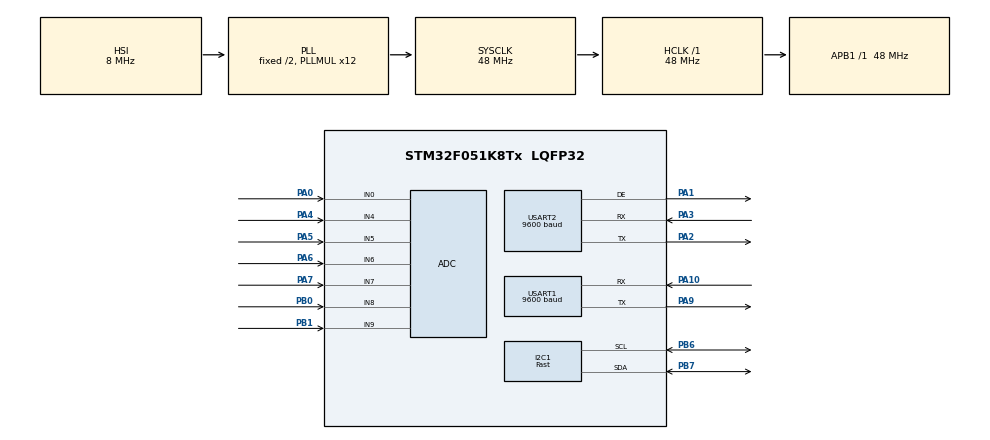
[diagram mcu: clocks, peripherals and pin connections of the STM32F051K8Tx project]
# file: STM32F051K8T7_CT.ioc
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ADC.ContinuousConvMode=ENABLE
ADC.DMAContinuousRequests=ENABLE
ADC.SamplingTime=ADC_SAMPLETIME_13CYCLES_5
Dma.ADC.0.Direction=DMA_PERIPH_TO_MEMORY
Dma.ADC.0.Instance=DMA1_Channel1
Dma.ADC.0.MemDataAlignment=DMA_MDATAALIGN_HALFWORD
Dma.ADC.0.MemInc=DMA_MINC_ENABLE
Dma.ADC.0.Mode=DMA_CIRCULAR
Dma.ADC.0.PeriphDataAlignment=DMA_PDATAALIGN_HALFWORD
Dma.ADC.0.PeriphInc=DMA_PINC_DISABLE
Dma.ADC.0.Priority=DMA_PRIORITY_LOW
Dma.Request0=ADC
Dma.Request1=USART2_TX
Dma.Request2=USART1_TX
Dma.USART1_TX.2.Direction=DMA_MEMORY_TO_PERIPH
Dma.USART1_TX.2.Instance=DMA1_Channel2
Dma.USART1_TX.2.MemDataAlignment=DMA_MDATAALIGN_BYTE
Dma.USART1_TX.2.MemInc=DMA_MINC_ENABLE
Dma.USART1_TX.2.Mode=DMA_NORMAL
Dma.USART1_TX.2.PeriphDataAlignment=DMA_PDATAALIGN_BYTE
Dma.USART1_TX.2.PeriphInc=DMA_PINC_DISABLE
Dma.USART1_TX.2.Priority=DMA_PRIORITY_LOW
Dma.USART2_TX.1.Direction=DMA_MEMORY_TO_PERIPH
Dma.USART2_TX.1.Instance=DMA1_Channel4
Dma.USART2_TX.1.MemDataAlignment=DMA_MDATAALIGN_BYTE
Dma.USART2_TX.1.MemInc=DMA_MINC_ENABLE
Dma.USART2_TX.1.Mode=DMA_NORMAL
Dma.USART2_TX.1.PeriphDataAlignment=DMA_PDATAALIGN_BYTE
Dma.USART2_TX.1.PeriphInc=DMA_PINC_DISABLE
Dma.USART2_TX.1.Priority=DMA_PRIORITY_LOW
I2C1.I2C_Speed_Mode=I2C_Fast
I2C1.Timing=0x0010020A
Mcu.Family=STM32F0
Mcu.Name=STM32F051K8Tx
Mcu.Package=LQFP32
NVIC.DMA1_Channel1_IRQn=true\:0\:0\:false\:false\:true\:false\:true\:true
NVIC.DMA1_Channel2_3_IRQn=true\:0\:0\:false\:false\:true\:false\:true\:true
NVIC.DMA1_Channel4_5_IRQn=true\:0\:0\:false\:false\:true\:false\:true\:true
NVIC.TIM3_IRQn=true\:0\:0\:false\:false\:true\:true\:true\:true
NVIC.USART1_IRQn=true\:0\:0\:false\:false\:true\:false\:true\:true
NVIC.USART2_IRQn=true\:0\:0\:false\:false\:true\:true\:true\:true
PA0.Mode=IN0
PA0.Signal=ADC_IN0
PA1.Mode=Hardware Flow Control (RS485)
PA1.Signal=USART2_DE
PA10.GPIO_PuPd=GPIO_PULLUP
PA10.Mode=Asynchronous
PA10.Signal=USART1_RX
PA13.Mode=Serial_Wire
PA13.Signal=SYS_SWDIO
PA14.Mode=Serial_Wire
PA14.Signal=SYS_SWCLK
PA2.Mode=Asynchronous
PA2.Signal=USART2_TX
PA3.GPIO_PuPd=GPIO_PULLUP
PA3.Mode=Asynchronous
PA3.Signal=USART2_RX
PA4.Mode=IN4
PA4.Signal=ADC_IN4
PA5.Mode=IN5
PA5.Signal=ADC_IN5
PA6.Mode=IN6
PA6.Signal=ADC_IN6
PA7.Mode=IN7
PA7.Signal=ADC_IN7
PA9.Mode=Asynchronous
PA9.Signal=USART1_TX
PB0.Mode=IN8
PB0.Signal=ADC_IN8
PB1.Mode=IN9
PB1.Signal=ADC_IN9
PB6.GPIO_Pu=GPIO_PULLUP
PB6.Mode=I2C
PB6.Signal=I2C1_SCL
PB7.GPIO_Pu=GPIO_PULLUP
PB7.Mode=I2C
PB7.Signal=I2C1_SDA
PF0-OSC_IN.Mode=HSE-External-Oscillator
PF0-OSC_IN.Signal=RCC_OSC_IN
PF1-OSC_OUT.Mode=HSE-External-Oscillator
PF1-OSC_OUT.Signal=RCC_OSC_OUT
ProjectManager.HeapSize=0x200
ProjectManager.StackSize=0x400
ProjectManager.TargetToolchain=CMake
RCC.AHBFreq_Value=48000000
RCC.APB1Freq_Value=48000000
RCC.APB1TimFreq_Value=48000000
RCC.HCLKFreq_Value=48000000
RCC.PLLMUL=RCC_PLL_MUL12
RCC.SYSCLKFreq_VALUE=48000000
RCC.SYSCLKSource=RCC_SYSCLKSOURCE_PLLCLK
TIM3.Period=1000-1
TIM3.Prescaler=48-1
USART1.BaudRate=9600
USART1.VirtualMode-Asynchronous=VM_ASYNC
USART2.BaudRate=9600
USART2.VirtualMode-Asynchronous=VM_ASYNC
USART2.VirtualMode-Hardware\ Flow\ Control\ (RS485)=VM_ASYNC
VP_TIM3_VS_ClockSourceINT.Mode=Internal
board=custom

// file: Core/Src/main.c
/* USER CODE BEGIN Header */
/**
 ******************************************************************************
 * @file           : main.c
 * @brief          : Main program body
 ******************************************************************************
 * @attention
 *
 * Copyright (c) 2025 STMicroelectronics.
 * All rights reserved.
 *
 * This software is licensed under terms that can be found in the LICENSE file
 * in the root directory of this software component.
 * If no LICENSE file comes with this software, it is provided AS-IS.
 *
 ******************************************************************************
 */
/* USER CODE END Header */
#include "main.h"
#include "adc.h"
#include "dma.h"
#include "i2c.h"
#include "tim.h"
#include "usart.h"
#include "gpio.h"

/* USER CODE BEGIN Includes */
#include <math.h>
#include <stdio.h>
#include <string.h>
#include <stdlib.h>
/* USER CODE END Includes */

/* USER CODE BEGIN PD */
#define ADC_NUM 7
/* USER CODE END PD */

void SystemClock_Config(void);
/* USER CODE BEGIN PFP */
void Read_Sensor_ID(void);
void ADC_CT_PRO(uint8_t i);
/* USER CODE END PFP */

/* USER CODE BEGIN 0 */
char rxData, rxBuff[30], usrData, usrBuff[30], txBuff[30], Buff[255];
uint8_t adcFlag, ctFlag, txFlag, I2CBuff[16], ReadI2C[16], senID[7];
uint16_t adcCnt = 300, adcRaw[70], adcData[7], adcAvg[7], adcSqrt[7], adcSqrAvg[7];
uint16_t ctCnt[7];
uint32_t adcRawSum[7], adcSum[7], adcSqr[7], adcSqrSum[7];
int32_t adcValue[7];

/* USER CODE END 0 */

int main(void)
{

  /* MCU Configuration--------------------------------------------------------*/

  /* Reset of all peripherals, Initializes the Flash interface and the Systick. */
  HAL_Init();

  /* Configure the system clock */
  SystemClock_Config();

  /* Initialize all configured peripherals */
  MX_GPIO_Init();
  MX_DMA_Init();
  MX_ADC_Init();
  MX_TIM3_Init();
  MX_USART2_UART_Init();
  MX_USART1_UART_Init();
  MX_I2C1_Init();
  /* USER CODE BEGIN 2 */
    Read_Sensor_ID();
    HAL_ADCEx_Calibration_Start(&hadc);
    HAL_ADC_Start_DMA(&hadc, (uint32_t *)&adcRaw, 70);
    HAL_UART_Receive_IT(&huart2, (uint8_t *)&rxData, 1);
    HAL_UART_Receive_IT(&huart1, (uint8_t *)&usrData, 1);
    HAL_TIM_Base_Start_IT(&htim3);
  /* USER CODE END 2 */

  /* Infinite loop */
    while (1)
    {

    /* USER CODE BEGIN 3 */
        if (adcFlag)
        {
            adcRawSum[0] = adcRaw[0] + adcRaw[7] + adcRaw[14] + adcRaw[21] + adcRaw[28] + adcRaw[35] + adcRaw[42] + adcRaw[49] + adcRaw[56] + adcRaw[63];
            adcRawSum[1] = adcRaw[1] + adcRaw[8] + adcRaw[15] + adcRaw[22] + adcRaw[29] + adcRaw[36] + adcRaw[43] + adcRaw[50] + adcRaw[57] + adcRaw[64];
            adcRawSum[2] = adcRaw[2] + adcRaw[9] + adcRaw[16] + adcRaw[23] + adcRaw[30] + adcRaw[37] + adcRaw[44] + adcRaw[51] + adcRaw[58] + adcRaw[65];
            adcRawSum[3] = adcRaw[3] + adcRaw[10] + adcRaw[17] + adcRaw[24] + adcRaw[31] + adcRaw[38] + adcRaw[45] + adcRaw[52] + adcRaw[59] + adcRaw[66];
            adcRawSum[4] = adcRaw[4] + adcRaw[11] + adcRaw[18] + adcRaw[25] + adcRaw[32] + adcRaw[39] + adcRaw[46] + adcRaw[53] + adcRaw[60] + adcRaw[67];
            adcRawSum[5] = adcRaw[5] + adcRaw[12] + adcRaw[19] + adcRaw[26] + adcRaw[33] + adcRaw[40] + adcRaw[47] + adcRaw[54] + adcRaw[61] + adcRaw[68];
            adcRawSum[6] = adcRaw[6] + adcRaw[13] + adcRaw[20] + adcRaw[27] + adcRaw[34] + adcRaw[41] + adcRaw[48] + adcRaw[55] + adcRaw[62] + adcRaw[69];

            adcData[0] = adcRawSum[0] / 10;
            adcData[1] = adcRawSum[1] / 10;
            adcData[2] = adcRawSum[2] / 10;
            adcData[3] = adcRawSum[3] / 10;
            adcData[4] = adcRawSum[4] / 10;
            adcData[5] = adcRawSum[5] / 10;
            adcData[6] = adcRawSum[6] / 10;

            adcRawSum[0] = 0;
            adcRawSum[1] = 0;
            adcRawSum[2] = 0;
            adcRawSum[3] = 0;
            adcRawSum[4] = 0;
            adcRawSum[5] = 0;
            adcRawSum[6] = 0;

            adcSum[0] += adcData[0];
            adcSum[1] += adcData[1];
            adcSum[2] += adcData[2];
            adcSum[3] += adcData[3];
            adcSum[4] += adcData[4];
            adcSum[5] += adcData[5];
            adcSum[6] += adcData[6];

            if (adcCnt > 0)
                adcCnt--;

            if (adcCnt == 0)
            {
                adcAvg[0] = adcSum[0] / 300;
                adcAvg[1] = adcSum[1] / 300;
                adcAvg[2] = adcSum[2] / 300;
                adcAvg[3] = adcSum[3] / 300;
                adcAvg[4] = adcSum[4] / 300;
                adcAvg[5] = adcSum[5] / 300;
                adcAvg[6] = adcSum[6] / 300;

                adcSum[0] = 0;
                adcSum[1] = 0;
                adcSum[2] = 0;
                adcSum[3] = 0;
                adcSum[4] = 0;
                adcSum[5] = 0;
                adcSum[6] = 0;

                adcCnt = 300;
            }

            adcFlag = 0;
            ctFlag = 1;
        }

        if (ctFlag)
        {
            for (uint8_t i = 0; i < ADC_NUM; i++)
            {
                ADC_CT_PRO(i);
            }

            ctFlag = 0;
        }

        if (txFlag)
        { // ADC별 ID와 데이터 전송
            snprintf(Buff, sizeof(Buff),
                     "ADC1(ID:%2d): %3ld, ADC2(ID:%2d): %3ld, ADC3(ID:%2d): %3ld, ADC4(ID:%2d): %3ld"
                     ", ADC5(ID:%2d): %3ld, ADC6(ID:%2d): %3ld, ADC7(ID:%2d): %3ld\r\n",
                     senID[0], adcValue[0], senID[1], adcValue[1], senID[2], adcValue[2], senID[3], adcValue[3],
                     senID[4], adcValue[4], senID[5], adcValue[5], senID[6], adcValue[6]);
            HAL_UART_Transmit_DMA(&huart1, (uint8_t *)&Buff, strlen(Buff));

            txFlag = 0;
        }
    }
  /* USER CODE END 3 */
}

void SystemClock_Config(void)
{
  RCC_OscInitTypeDef RCC_OscInitStruct = {0};
  RCC_ClkInitTypeDef RCC_ClkInitStruct = {0};
  RCC_PeriphCLKInitTypeDef PeriphClkInit = {0};

  /** Initializes the RCC Oscillators according to the specified parameters
  * in the RCC_OscInitTypeDef structure.
  */
  RCC_OscInitStruct.OscillatorType = RCC_OSCILLATORTYPE_HSI|RCC_OSCILLATORTYPE_HSI14;
  RCC_OscInitStruct.HSIState = RCC_HSI_ON;
  RCC_OscInitStruct.HSI14State = RCC_HSI14_ON;
  RCC_OscInitStruct.HSICalibrationValue = RCC_HSICALIBRATION_DEFAULT;
  RCC_OscInitStruct.HSI14CalibrationValue = 16;
  RCC_OscInitStruct.PLL.PLLState = RCC_PLL_ON;
  RCC_OscInitStruct.PLL.PLLSource = RCC_PLLSOURCE_HSI;
  RCC_OscInitStruct.PLL.PLLMUL = RCC_PLL_MUL12;
  RCC_OscInitStruct.PLL.PREDIV = RCC_PREDIV_DIV1;
  if (HAL_RCC_OscConfig(&RCC_OscInitStruct) != HAL_OK)
  {
    Error_Handler();
  }

  /** Initializes the CPU, AHB and APB buses clocks
  */
  RCC_ClkInitStruct.ClockType = RCC_CLOCKTYPE_HCLK|RCC_CLOCKTYPE_SYSCLK
                              |RCC_CLOCKTYPE_PCLK1;
  RCC_ClkInitStruct.SYSCLKSource = RCC_SYSCLKSOURCE_PLLCLK;
  RCC_ClkInitStruct.AHBCLKDivider = RCC_SYSCLK_DIV1;
  RCC_ClkInitStruct.APB1CLKDivider = RCC_HCLK_DIV1;

  if (HAL_RCC_ClockConfig(&RCC_ClkInitStruct, FLASH_LATENCY_1) != HAL_OK)
  {
    Error_Handler();
  }
  PeriphClkInit.PeriphClockSelection = RCC_PERIPHCLK_USART1|RCC_PERIPHCLK_I2C1;
  PeriphClkInit.Usart1ClockSelection = RCC_USART1CLKSOURCE_PCLK1;
  PeriphClkInit.I2c1ClockSelection = RCC_I2C1CLKSOURCE_HSI;
  if (HAL_RCCEx_PeriphCLKConfig(&PeriphClkInit) != HAL_OK)
  {
    Error_Handler();
  }
}

/* USER CODE BEGIN 4 */
void HAL_TIM_PeriodElapsedCallback(TIM_HandleTypeDef *htim)
{
    if (htim->Instance == TIM3)
    {
        static uint16_t cnt;

        // 1msec 간격 ADC
        adcFlag = 1;

        cnt++;

        if (cnt >= 1000)
        {
            txFlag = 1;
            cnt = 0;
        }
    }
}

void HAL_UART_RxCpltCallback(UART_HandleTypeDef *huart)
{
    if (huart->Instance == USART2)
    {
        rxBuff[0] = rxBuff[1];
        rxBuff[1] = rxBuff[2];
        rxBuff[2] = rxBuff[3];
        rxBuff[3] = rxBuff[4];
        rxBuff[4] = rxData;

        // 센서데이터 요청 ex.R01(아이디 01번 센서 데이터 요청)
        if (rxBuff[0] == 'R' && rxBuff[3] == 0x0D && rxBuff[4] == 0x0A)
        {
            uint8_t ID;

            ID = (rxBuff[1] - '0') * 10;
            ID += rxBuff[2] - '0';

            for (uint8_t i = 0; i < ADC_NUM; i++)
            {
                if (senID[i] == ID)
                {
                    uint16_t checksum;

                    if (adcValue[i] < 0)
                    {
                        uint16_t data = abs(adcValue[i]);
                        snprintf(txBuff, sizeof(txBuff), "A%02d-%02d", senID[i], data);
                    }
                    else
                        snprintf(txBuff, sizeof(txBuff), "A%02d%03ld", senID[i], adcValue[i]);

                    checksum = txBuff[0] + txBuff[1] + txBuff[2] + txBuff[3] + txBuff[4] + txBuff[5];

                    txBuff[6] = checksum >> 8;
                    txBuff[7] = checksum & 0xFF;
                    txBuff[8] = 0x0D;
                    txBuff[9] = 0x0A;

                    HAL_UART_Transmit_DMA(&huart2, (uint8_t *)&txBuff, 10);
                    break;
                }
            }
        }
        HAL_UART_Receive_IT(&huart2, (uint8_t *)&rxData, 1);
    }

    if (huart->Instance == USART1)
    {
        char tmpBuff[50];

        usrBuff[0] = usrBuff[1];
        usrBuff[1] = usrBuff[2];
        usrBuff[2] = usrBuff[3];
        usrBuff[3] = usrBuff[4];
        usrBuff[4] = usrBuff[5];
        usrBuff[5] = usrData;

        // ADC별 ID 부여 ex.A101(ADC1 = 01번) or A215(ADC2 = 15번)
        if (usrBuff[0] == 'A' && usrBuff[4] == 0x0D && usrBuff[5] == 0x0A)
        {
            I2CBuff[0] = (usrBuff[2] - '0') * 10;
            I2CBuff[0] += (usrBuff[3] - '0');

            if (usrBuff[1] == '1')
            {
                senID[0] = I2CBuff[0];
                HAL_I2C_Mem_Write(&hi2c1, 0xA0, 0x40, I2C_MEMADD_SIZE_8BIT, &I2CBuff[0], 1, 1);
                snprintf(tmpBuff, sizeof(tmpBuff), "ADC1 ID: %2d\r\n", I2CBuff[0]);
            }
            else if (usrBuff[1] == '2')
            {
                senID[1] = I2CBuff[0];
                HAL_I2C_Mem_Write(&hi2c1, 0xA0, 0x42, I2C_MEMADD_SIZE_8BIT, &I2CBuff[0], 1, 1);
                snprintf(tmpBuff, sizeof(tmpBuff), "ADC2 ID: %2d\r\n", I2CBuff[0]);
            }
            else if (usrBuff[1] == '3')
            {
                senID[2] = I2CBuff[0];
                HAL_I2C_Mem_Write(&hi2c1, 0xA0, 0x44, I2C_MEMADD_SIZE_8BIT, &I2CBuff[0], 1, 1);
                snprintf(tmpBuff, sizeof(tmpBuff), "ADC3 ID: %2d\r\n", I2CBuff[0]);
            }
            else if (usrBuff[1] == '4')
            {
                senID[3] = I2CBuff[0];
                HAL_I2C_Mem_Write(&hi2c1, 0xA0, 0x46, I2C_MEMADD_SIZE_8BIT, &I2CBuff[0], 1, 1);
                snprintf(tmpBuff, sizeof(tmpBuff), "ADC4 ID: %2d\r\n", I2CBuff[0]);
            }
            else if (usrBuff[1] == '5')
            {
                senID[4] = I2CBuff[0];
                HAL_I2C_Mem_Write(&hi2c1, 0xA0, 0x48, I2C_MEMADD_SIZE_8BIT, &I2CBuff[0], 1, 1);
                snprintf(tmpBuff, sizeof(tmpBuff), "ADC5 ID: %2d\r\n", I2CBuff[0]);
            }
            else if (usrBuff[1] == '6')
            {
                senID[5] = I2CBuff[0];
                HAL_I2C_Mem_Write(&hi2c1, 0xA0, 0x4a, I2C_MEMADD_SIZE_8BIT, &I2CBuff[0], 1, 1);
                snprintf(tmpBuff, sizeof(tmpBuff), "ADC6 ID: %2d\r\n", I2CBuff[0]);
            }
            else if (usrBuff[1] == '7')
            {
                senID[6] = I2CBuff[0];
                HAL_I2C_Mem_Write(&hi2c1, 0xA0, 0x4c, I2C_MEMADD_SIZE_8BIT, &I2CBuff[0], 1, 1);
                snprintf(tmpBuff, sizeof(tmpBuff), "ADC7 ID: %2d\r\n", I2CBuff[0]);
            }
            else
            {
                snprintf(tmpBuff, sizeof(tmpBuff), "Wrong Protocol: %s", usrBuff);
            }

            HAL_UART_Transmit_DMA(&huart1, (uint8_t *)tmpBuff, strlen(tmpBuff));
        }
        HAL_UART_Receive_IT(&huart1, (uint8_t *)&usrData, 1);
    }
}

void Read_Sensor_ID(void)
{
    HAL_I2C_Mem_Read(&hi2c1, 0xA0, 0x40, I2C_MEMADD_SIZE_8BIT, &ReadI2C[0], 16, 1);

    for (uint8_t i = 0; i < ADC_NUM; i++)
    {
        senID[i] = ReadI2C[i * 2];
    }
}

void ADC_CT_PRO(uint8_t i)
{ // 전류 연산

    ctCnt[i]++;

    if (adcData[i] >= adcAvg[i])
        adcSqr[i] = adcData[i] - adcAvg[i];
    else
        adcSqr[i] = adcAvg[i] - adcData[i];

    adcSqr[i] *= adcSqr[i];
    adcSqrSum[i] += adcSqr[i];

    if (ctCnt[i] >= 300)
    {
        adcSqrAvg[i] = adcSqrSum[i] / 300;
        adcSqrSum[i] = 0;

        adcSqrt[i] = sqrt(adcSqrAvg[i]);
        adcValue[i] = adcSqrt[i] * 100;
        adcValue[i] /= 150;

        if (adcValue[i] > 999)
            adcValue[i] = 999;
        else if (adcValue[i] < -99)
            adcValue[i] = -99;

        ctCnt[i] = 0;
    }
}

/* USER CODE END 4 */

void Error_Handler(void)
{
    __disable_irq();
    while (1)
    {
    }
}

#ifdef  USE_FULL_ASSERT
/**
  * @brief  Reports the name of the source file and the source line number
  *         where the assert_param error has occurred.
  * @param  file: pointer to the source file name
  * @param  line: assert_param error line source number
  * @retval None
  */
void assert_failed(uint8_t *file, uint32_t line)
{
  /* USER CODE BEGIN 6 */
    /* User can add his own implementation to report the file name and line number,
       ex: printf("Wrong parameters value: file %s on line %d\r\n", file, line) */
    printf("Wrong parameters value: file %s on line %ld\r\n", file, line);
  /* USER CODE END 6 */
}
#endif /* USE_FULL_ASSERT */
